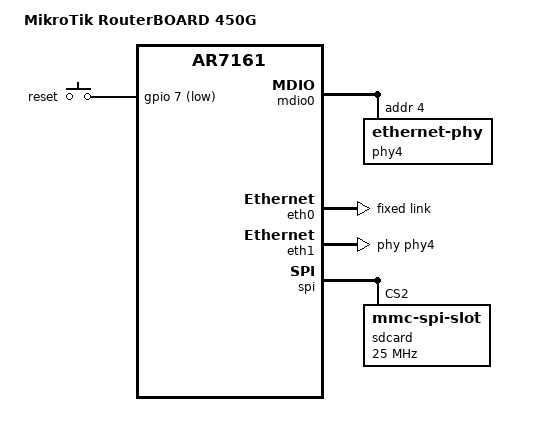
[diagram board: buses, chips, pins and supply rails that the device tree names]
// SPDX-License-Identifier: GPL-2.0-or-later OR MIT

#include "ar7100_mikrotik_routerboard-4xx.dtsi"

/ {
	compatible = "mikrotik,routerboard-450g", "qca,ar7161";
	model = "MikroTik RouterBOARD 450G";

	aliases {
		ethernet0 = &eth1;
		ethernet1 = &eth0;
	};

	keys {
		compatible = "gpio-keys";

		reset {
			label = "reset";
			linux,code = <KEY_RESTART>;
			gpios = <&gpio 7 GPIO_ACTIVE_LOW>;
			debounce-interval = <60>;
		};
	};
};

&gpio {
	gpio-line-names =
		"",     "", "", "", "LED", "RDY",  "",  "reset",
		"", "", "", "";
};

&pcie0 {
	status = "disabled";
};

&hard_config {
	nvmem-layout {
		compatible = "mikrotik,routerboot-nvmem";

		macaddr_hard: base-mac-address {
			#nvmem-cell-cells = <1>;
		};
	};
};

&mdio0 {
	/*
	 * The AR8316 does not tolerate the fastest MII clock dividers: at
	 * MII_CFG divider 0 and 2 the SMI data is sampled one bit early and
	 * every register read and write is shifted, so the switch never gets
	 * configured.  Divider 8 and slower are reliable, ask for a low
	 * enough frequency to land there.
	 */
	qca,mdio-max-frequency = <100000>;

	/* program the switch as soon as its PHY is probed */
	qca,init-at-probe;

	/* port 4 is used as the PHY of the WAN MAC */
	qca,phy4-mii-enable;

	phy4: ethernet-phy@4 {
		reg = <4>;
	};
};

/*
 * GE0 is the LAN MAC and is wired to port 0 of the AR8316, the CPU port of
 * the switch, so that link runs at gigabit no matter what the four copper
 * ports negotiate.  Describe it as a fixed link: the PHY in front of it is
 * the switch itself and there is no phylib client to follow.
 */
&eth0 {
	status = "okay";

	nvmem-cells = <&macaddr_hard 1>;
	nvmem-cell-names = "mac-address";

	/delete-property/ phy-handle;

	fixed-link {
		speed = <1000>;
		full-duplex;
	};
};

/*
 * GE1 is the WAN MAC and is wired to port 4 of the AR8316, which is used as
 * the PHY of the WAN port instead of as a switch port.  Its RGMII side
 * therefore follows the speed negotiated on the copper line, so keep the PHY
 * attached and let phylib program speed and duplex and report the carrier.
 * The ar71xx port registered GE1 first, which is why the aliases above make
 * this the netdev named eth0.
 */
&eth1 {
	status = "okay";

	nvmem-cells = <&macaddr_hard 0>;
	nvmem-cell-names = "mac-address";

	phy-handle = <&phy4>;
};

/*
 * The front panel port LEDs of this board are driven by the switch itself;
 * the five CPLD LED lines are not connected to them.  Drop the nodes that
 * the shared 4xx dtsi inherits from the ar71xx board files, which registered
 * them on every RB4xx device regardless of the hardware.
 */
&leds {
	/delete-node/ led1;
	/delete-node/ led2;
	/delete-node/ led3;
	/delete-node/ led4;
	/delete-node/ led5;
};

&spi {
	sdcard: mmc-slot@2 {
		compatible = "mmc-spi-slot";

		reg = <2>;
		spi-max-frequency = <25000000>;
	};
};

/*
 * The NAND is twice as large as the one of the 493G, so the kernel and UBI
 * partitions sit where RouterBOOT and the ar71xx based firmware expect them,
 * as reported by /proc/mtd on a stock installation:
 *
 *   mtd4: 00040000 00020000 "booter"
 *   mtd5: 003c0000 00020000 "kernel"
 *   mtd6: 1fc00000 00020000 "ubi"
 */
&kernel_part {
	reg = <0x0040000 0x03c0000>;
};

&ubi {
	reg = <0x0400000 0x0>;
};

&nand {
	/*
	 * The controller has no ECC engine of its own, so ask for software
	 * Hamming, which is what the ar71xx driver used.  The algorithm has to
	 * come from the device tree: nand_scan_tail() overwrites
	 * chip->ecc.algo from the user configuration, and without this the
	 * probe fails with "Unsupported ECC algorithm!".  The RB493G shares
	 * the same NAND controller and needs the same line.
	 */
	nand-ecc-mode = "soft";
};
